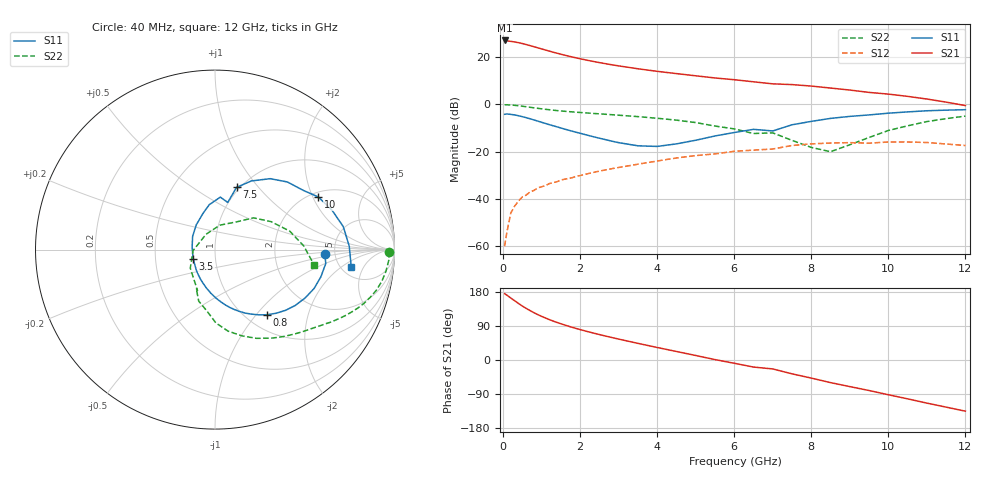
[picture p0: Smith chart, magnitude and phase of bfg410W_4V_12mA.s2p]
! Filename: 412bfg410.001
! BFG410W Field B1
! V1=8.628E-001V,V2=4.000E+000V, I1=1.700E-004A, I2=1.202E-002A
# GHz  S  MA  R 50
!  S11  S21  S12  S22
!Freq(GHz)  Mag  Ang  Mag  Ang  Mag  Ang  Mag  Ang
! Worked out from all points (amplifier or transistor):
!   44 points, 40 MHz to 12 GHz, reference 50 ohm
!   highest |S21| = 26.9 dB at 40 MHz (marker M1)
!   |S21| within 3 dB of that: start of sweep to 877.2 MHz
!   unconditionally stable (mu >= 1): start of sweep to 56.25 MHz; 1.772 GHz to end of sweep
!   at 700 MHz: K = 0.56, MSG = 30.9 dB, |S12| = -37.1 dB
!   at 2.4 GHz: K = 1.11, MAG = 21.2 dB, |S12| = -28.6 dB
!   at 12 GHz: K = 1.49, MAG = 4.3 dB, |S12| = -17.5 dB
!   S11 on the Smith chart (normalised r, x): 40 MHz: 4.13, -0.32; 800 MHz: 1.24, -1.14; 3.5 GHz: 0.78, -0.08; 7.5 GHz: 0.97, +0.78; 10 GHz: 2.18, +2.20; 12 GHz: 6.19, -2.82
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0.04  0.612 -2.2  22.2 174.9  0.001 42.4  0.968 -0.7
0.2  0.609 -14.5  21.25 163.5  0.005 78.8  0.96 -7.3
0.3  0.593 -21.4  20.65 156.5  0.007 76.4  0.946 -10.8
0.4  0.57 -28.2  19.93 149.3  0.009 73.9  0.927 -14.1
0.5  0.545 -34.8  19.11 142.3  0.011 70.8  0.905 -17.1
0.6  0.519 -40.6  18.2 136.1  0.012 69.3  0.883 -19.8
0.8  0.465 -51.3  16.38 124.9  0.015 65.8  0.838 -24.4
1  0.414 -60.3  14.7 115.2  0.018 63.3  0.798 -28.4
1.1  0.392 -64.5  13.94 110.8  0.019 62.2  0.78 -30.1
1.4  0.332 -75.8  11.94 99.1  0.023 60.1  0.733 -34.8
1.8  0.268 -89.4  9.917 86.1  0.028 57.9  0.687 -40.4
2.2  0.22 -102.4  8.432 74.8  0.034 55.8  0.65 -46.0
2.8  0.167 -124.2  6.849 59.9  0.043 51.8  0.601 -54.5
3.5  0.132 -157.3  5.601 43.9  0.054 45.5  0.546 -64.9
4.5  0.145 149.2  4.426 22.5  0.073 33.8  0.46 -80.9
5.5  0.213 108.2  3.578 1.0  0.089 18.8  0.345 -97.5
6.5  0.294 84.2  2.971 -18.6  0.107 5.0  0.24 -115.9
7.5  0.367 70.9  2.593 -36.5  0.134 -5.7  0.172 -143.2
8.5  0.501 52.1  2.192 -59.7  0.151 -28.8  0.099 120.0
10  0.645 27.1  1.633 -91.7  0.159 -59.1  0.278 39.6
10.5  0.687 18.9  1.463 -102.5  0.159 -69.7  0.349 26.5
12  0.765 -7.1  0.935 -135.0  0.134 -108.2  0.56 -8.9
